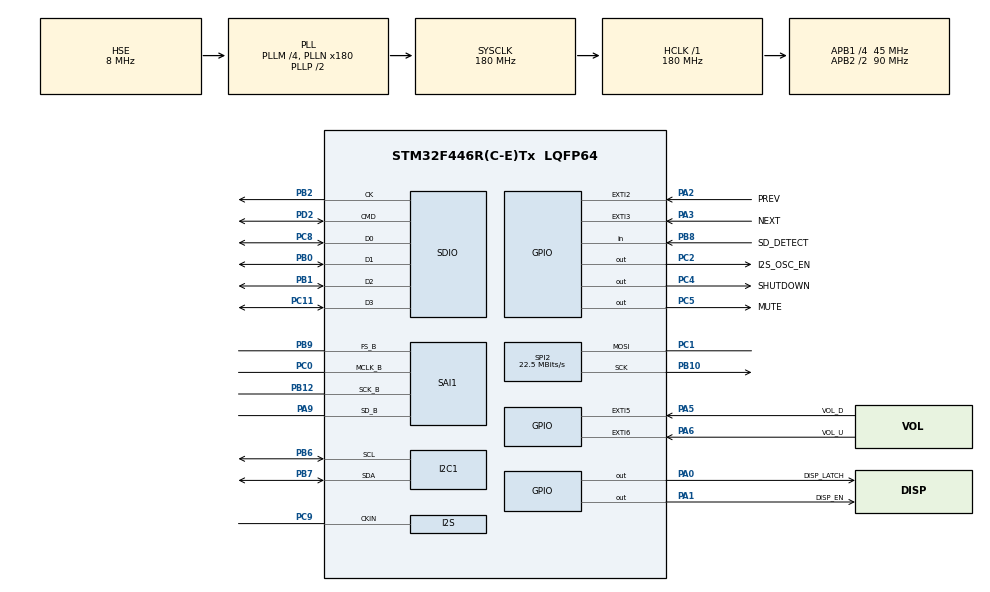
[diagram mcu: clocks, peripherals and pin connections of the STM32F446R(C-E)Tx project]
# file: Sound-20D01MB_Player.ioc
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Mcu.Family=STM32F4
PH0-OSC_IN.Signal=RCC_OSC_IN
RCC.CortexFreq_Value=180000000
NVIC.I2C1_EV_IRQn=true\:0\:0\:false\:false\:true\:true\:true
SPI2.VirtualType=VM_MASTER
PB10.Mode=Simplex_Bidirectional_Master
Dma.SAI1_B.0.MemInc=DMA_MINC_ENABLE
Dma.SAI1_B.0.FIFOThreshold=DMA_FIFO_THRESHOLD_FULL
NVIC.EXTI3_IRQn=true\:0\:0\:false\:false\:true\:true\:true
SAI1.VirtualMode-SAI_B_MasterWithClock=VM_MASTER
PA6.GPIO_Label=VOL_U
RCC.SYSCLKSource=RCC_SYSCLKSOURCE_PLLCLK
SAI1.RealAudioFreq-SAI_B_MasterWithClock=48.0 KHz
ProjectManager.StackSize=0x400
PC11.GPIO_PuPd=GPIO_PULLUP
PB1.GPIO_PuPd=GPIO_PULLUP
RCC.HCLKFreq_Value=180000000
RCC.APB2TimFreq_Value=180000000
PB6.Signal=I2C1_SCL
PB6.Mode=I2C
RCC.AHBFreq_Value=180000000
PH0-OSC_IN.Mode=HSE-External-Oscillator
SAI1.ErrorAudioFreq-SAI_B_MasterWithClock=0.0 %
RCC.HSE_VALUE=8000000
PB2.Signal=SDIO_CK
Dma.SAI1_B.0.PeriphInc=DMA_PINC_DISABLE
PC14-OSC32_IN.Mode=LSE-External-Oscillator
PC4.GPIO_Label=SHUTDOWN
PC9.Mode=Audio_ClockIn
SPI2.CalculateBaudRate=22.5 MBits/s
PB7.Signal=I2C1_SDA
Dma.SAI1_B.0.MemBurst=DMA_MBURST_SINGLE
NVIC.I2C1_ER_IRQn=true\:0\:0\:false\:false\:true\:true\:true
PH1-OSC_OUT.Mode=HSE-External-Oscillator
Mcu.Package=LQFP64
PB9.Signal=SAI1_FS_B
PB1.Signal=SDIO_D2
PA6.Signal=GPXTI6
PB12.Mode=SAI_B_MasterWithClock
SPI2.Mode=SPI_MODE_MASTER
PA2.GPIO_Label=PREV
SAI1.Instance-SAI_B_MasterWithClock=SAI$Index_Block_B
PC11.Mode=SD_4_bits_Wide_bus
RCC.PLLSAIN=96
RCC.PLLSAIM=4
RCC.PLLSAIP=RCC_PLLSAIP_DIV4
Dma.SAI1_B.0.Mode=DMA_NORMAL
RCC.APB2CLKDivider=RCC_HCLK_DIV2
Dma.SAI1_B.0.FIFOMode=DMA_FIFOMODE_ENABLE
NVIC.EXTI2_IRQn=true\:0\:0\:false\:false\:true\:true\:true
RCC.APB1TimFreq_Value=90000000
Dma.SAI1_B.0.Instance=DMA2_Stream5
SPI2.Direction=SPI_DIRECTION_1LINE
PC5.Signal=GPIO_Output
SAI1.MClockEnable-SAI_B_MasterWithClock=SAI_MASTERCLOCK_ENABLE
Dma.Request0=SAI1_B
PC2.GPIO_Label=I2S_OSC_EN
PA3.Signal=GPXTI3
RCC.PLLSourceVirtual=RCC_PLLSOURCE_HSE
PC15-OSC32_OUT.Mode=LSE-External-Oscillator
Dma.SAI1_B.0.MemDataAlignment=DMA_MDATAALIGN_BYTE
Dma.SAI1_B.0.PeriphDataAlignment=DMA_PDATAALIGN_HALFWORD
PD2.GPIO_PuPd=GPIO_PULLUP
RCC.SAIACLockSelection=RCC_SAI1CLKSOURCE_EXT
Dma.SAI1_B.0.PeriphBurst=DMA_PBURST_SINGLE
PC11.Signal=SDIO_D3
PC8.Signal=SDIO_D0
PC4.Signal=GPIO_Output
PC2.Signal=GPIO_Output
PC0.Signal=SAI1_MCLK_B
RCC.APB1CLKDivider=RCC_HCLK_DIV4
PC14-OSC32_IN.Signal=RCC_OSC32_IN
PA0-WKUP.GPIO_Label=DISP_LATCH
PA0-WKUP.Signal=GPIO_Output
PC0.Mode=SAI_B_MasterWithClock
PA13.Signal=SYS_JTMS-SWDIO
Dma.SAI1_B.0.Priority=DMA_PRIORITY_LOW
PB8.GPIO_Label=SD_DETECT
PA9.Mode=SAI_B_MasterWithClock
ProjectManager.TargetToolchain=STM32CubeIDE
SAI1.BasicProtocol-SAI_B_MasterWithClock=SAI_I2S_STANDARD
Dma.SAI1_B.0.Direction=DMA_MEMORY_TO_PERIPH
PB9.Mode=SAI_B_MasterWithClock
PA9.Signal=SAI1_SD_B
RCC.USBFreq_Value=48000000
PC15-OSC32_OUT.Signal=RCC_OSC32_OUT
PA1.Signal=GPIO_Output
PB10.Signal=SPI2_SCK
VP_SAI1_VP_$IpInstance_SAIB_SAI_BASIC.Mode=SAI_B_BASIC
PD2.Mode=SD_4_bits_Wide_bus
RCC.USBCLockSelection=RCC_CLK48CLKSOURCE_PLLSAIP
PA5.Signal=GPXTI5
PB0.Mode=SD_4_bits_Wide_bus
board=custom
RCC.VCOOutputFreq_Value=360000000
RCC.APB2Freq_Value=90000000
NVIC.DMA2_Stream5_IRQn=true\:0\:0\:false\:false\:true\:false\:true
PA1.GPIO_Label=DISP_EN
PH1-OSC_OUT.Signal=RCC_OSC_OUT
Mcu.Name=STM32F446R(C-E)Tx
PA2.Signal=GPXTI2
PC8.Mode=SD_4_bits_Wide_bus
PC8.GPIO_PuPd=GPIO_PULLUP
PB3.Signal=SYS_JTDO-SWO
RCC.SYSCLKFreq_VALUE=180000000
PA5.GPIO_Label=VOL_D
SAI1.AudioFrequency-SAI_B_MasterWithClock=SAI_AUDIO_FREQUENCY_48K
PC5.GPIO_Label=MUTE
SPI2.FirstBit=SPI_FIRSTBIT_LSB
PB2.Mode=SD_4_bits_Wide_bus
PB7.Mode=I2C
NVIC.EXTI9_5_IRQn=true\:0\:0\:false\:false\:true\:true\:true
PA14.Signal=SYS_JTCK-SWCLK
ProjectManager.HeapSize=0x200
PB1.Mode=SD_4_bits_Wide_bus
RCC.PLLQ=8
SAI1.VirtualProtocol-SAI_B_BASIC=VM_BASIC_PROTOCOL
NVIC.PriorityGroup=NVIC_PRIORITYGROUP_4
RCC.PLLM=4
RCC.PLLN=180
PB8.Signal=GPIO_Input
PC9.Signal=I2S_CKIN
PD2.Signal=SDIO_CMD
SAI1.InitProtocol-SAI_B_MasterWithClock=Enable
RCC.APB1Freq_Value=45000000
PB0.Signal=SDIO_D1
PC1.Signal=SPI2_MOSI
PB12.Signal=SAI1_SCK_B
PB0.GPIO_PuPd=GPIO_PULLUP
PC1.Mode=Simplex_Bidirectional_Master
PA3.GPIO_Label=NEXT

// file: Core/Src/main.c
/* USER CODE BEGIN Header */
/**
  ******************************************************************************
  * @file           : main.c
  * @brief          : Main program body
  ******************************************************************************
  * @attention
  *
  * <h2><center>&copy; Copyright (c) 2023 STMicroelectronics.
  * All rights reserved.</center></h2>
  *
  * This software component is licensed by ST under BSD 3-Clause license,
  * the "License"; You may not use this file except in compliance with the
  * License. You may obtain a copy of the License at:
  *                        opensource.org/licenses/BSD-3-Clause
  *
  ******************************************************************************
  */
/* USER CODE END Header */
#include "main.h"

/* USER CODE BEGIN Includes */
#include <string.h>
#include "audio.h"
#include "fs.h"
#include "display.h"
#include "playlist.h"

/* USER CODE END Includes */

/* USER CODE BEGIN PD */
#define DEFAULT_VOLUME 40
/* USER CODE END PD */

I2C_HandleTypeDef hi2c1;

SAI_HandleTypeDef hsai_BlockB1;
DMA_HandleTypeDef hdma_sai1_b;

SD_HandleTypeDef hsd;

SPI_HandleTypeDef hspi2;

/* USER CODE BEGIN PV */
volatile uint8_t read_next_chunk = 0;
volatile uint8_t *buffer_play = NULL;
volatile uint8_t *buffer_read = NULL;
uint8_t buffer_a[CLUSTER_SIZE];
uint8_t buffer_b[CLUSTER_SIZE];
volatile uint16_t numread;
volatile uint16_t cmd = 0;
volatile uint16_t track_number = 0;
volatile uint16_t old_track_number = 0;
volatile uint16_t number_of_tracks = 0;
volatile uint8_t volume = DEFAULT_VOLUME;
/* USER CODE END PV */

void SystemClock_Config(void);
static void MX_GPIO_Init(void);
static void MX_DMA_Init(void);
static void MX_SAI1_Init(void);
static void MX_I2C1_Init(void);
static void MX_SDIO_SD_Init(void);
static void MX_SPI2_Init(void);

/* USER CODE BEGIN 0 */
#ifdef DEBUG
int _write(int32_t file, uint8_t *ptr, int32_t len) {
	UNUSED(file);

	/* Implement your write code here, this is used by puts and printf for example */
	int i = 0;
	for (i = 0; i < len; i++)
		ITM_SendChar((*ptr++));
	return len;
}
#endif

int Player_Init(void) {
	BSP_AUDIO_Init(48000, volume, 0);
	BSP_Player_SetVolume(volume);
	return 0;
}

void HAL_GPIO_EXTI_Callback(uint16_t GPIO_Pin) {
	cmd = GPIO_Pin;
}

void HAL_SAI_TxCpltCallback(SAI_HandleTypeDef *hsai) {
	volatile uint8_t *temp;

	temp = buffer_play;
	buffer_play = buffer_read;
	buffer_read = temp;

	HAL_SAI_Transmit_DMA(&hsai_BlockB1, (uint8_t *) buffer_play, numread / 2);

	if (0 != track_number) {
		read_next_chunk = 1;
	}

	UNUSED(hsai);
}

void HAL_SAI_TxHalfCpltCallback(SAI_HandleTypeDef *hsai) {
	UNUSED(hsai);
}
/* USER CODE END 0 */

int main(void)
{

  /* MCU Configuration--------------------------------------------------------*/

  /* Reset of all peripherals, Initializes the Flash interface and the Systick. */
  HAL_Init();

  /* Configure the system clock */
  SystemClock_Config();

  /* Initialize all configured peripherals */
  MX_GPIO_Init();
  MX_DMA_Init();
  MX_SAI1_Init();
  MX_I2C1_Init();
  MX_SDIO_SD_Init();
  MX_SPI2_Init();
  /* USER CODE BEGIN 2 */
  Player_Init();

  number_of_tracks = fs_init();
  playlist_init(number_of_tracks);
  display_update(0);

  memset(buffer_a, 0, CLUSTER_SIZE);
  memset(buffer_b, 0, CLUSTER_SIZE);

  read_next_chunk = 0;
  buffer_play = buffer_a;
  buffer_read = buffer_b;
  numread = CLUSTER_SIZE;

  HAL_SAI_Transmit_DMA(&hsai_BlockB1, (uint8_t *) buffer_play, CLUSTER_SIZE / 2);

  /* USER CODE END 2 */

  /* Infinite loop */
  /* USER CODE BEGIN WHILE */
  while (1)
  {
		if (0 != cmd) {
			switch (cmd) {
				case VOL_D_Pin: /* Volume Down */
					if (0 < volume) {
						volume--;
						BSP_Player_SetVolume(volume);
					}
					break;
				case VOL_U_Pin: /* Volume Up */
					if (100 > volume) {
						volume++;
						BSP_Player_SetVolume(volume);
					}
					break;
				case PREV_Pin: /* Previous Track */
					track_number = playlist_prev();
					break;
				case NEXT_Pin: /* Next Track */
					track_number = playlist_next();
					break;
			}

			cmd = 0;
		}

		if (old_track_number != track_number) {
			old_track_number = track_number;

			display_update(track_number);

			while (1 != read_next_chunk) {}

			fs_open(track_number);
		}

		if (1 != read_next_chunk) {
			continue;
		}

		read_next_chunk = 0;

		numread = fs_read((uint8_t *) buffer_read);
		if (CLUSTER_SIZE != numread) {
			track_number = playlist_next();
		}

    /* USER CODE END WHILE */

  }
}

void SystemClock_Config(void)
{
  RCC_OscInitTypeDef RCC_OscInitStruct = {0};
  RCC_ClkInitTypeDef RCC_ClkInitStruct = {0};
  RCC_PeriphCLKInitTypeDef PeriphClkInitStruct = {0};

  /** Configure the main internal regulator output voltage
  */
  __HAL_RCC_PWR_CLK_ENABLE();
  __HAL_PWR_VOLTAGESCALING_CONFIG(PWR_REGULATOR_VOLTAGE_SCALE1);
  /** Initializes the RCC Oscillators according to the specified parameters
  * in the RCC_OscInitTypeDef structure.
  */
  RCC_OscInitStruct.OscillatorType = RCC_OSCILLATORTYPE_HSE;
  RCC_OscInitStruct.HSEState = RCC_HSE_ON;
  RCC_OscInitStruct.PLL.PLLState = RCC_PLL_ON;
  RCC_OscInitStruct.PLL.PLLSource = RCC_PLLSOURCE_HSE;
  RCC_OscInitStruct.PLL.PLLM = 4;
  RCC_OscInitStruct.PLL.PLLN = 180;
  RCC_OscInitStruct.PLL.PLLP = RCC_PLLP_DIV2;
  RCC_OscInitStruct.PLL.PLLQ = 8;
  RCC_OscInitStruct.PLL.PLLR = 2;
  if (HAL_RCC_OscConfig(&RCC_OscInitStruct) != HAL_OK)
  {
    Error_Handler();
  }
  /** Activate the Over-Drive mode
  */
  if (HAL_PWREx_EnableOverDrive() != HAL_OK)
  {
    Error_Handler();
  }
  /** Initializes the CPU, AHB and APB buses clocks
  */
  RCC_ClkInitStruct.ClockType = RCC_CLOCKTYPE_HCLK|RCC_CLOCKTYPE_SYSCLK
                              |RCC_CLOCKTYPE_PCLK1|RCC_CLOCKTYPE_PCLK2;
  RCC_ClkInitStruct.SYSCLKSource = RCC_SYSCLKSOURCE_PLLCLK;
  RCC_ClkInitStruct.AHBCLKDivider = RCC_SYSCLK_DIV1;
  RCC_ClkInitStruct.APB1CLKDivider = RCC_HCLK_DIV4;
  RCC_ClkInitStruct.APB2CLKDivider = RCC_HCLK_DIV2;

  if (HAL_RCC_ClockConfig(&RCC_ClkInitStruct, FLASH_LATENCY_5) != HAL_OK)
  {
    Error_Handler();
  }
  PeriphClkInitStruct.PeriphClockSelection = RCC_PERIPHCLK_SAI1|RCC_PERIPHCLK_SDIO
                              |RCC_PERIPHCLK_CLK48;
  PeriphClkInitStruct.PLLSAI.PLLSAIM = 4;
  PeriphClkInitStruct.PLLSAI.PLLSAIN = 96;
  PeriphClkInitStruct.PLLSAI.PLLSAIQ = 2;
  PeriphClkInitStruct.PLLSAI.PLLSAIP = RCC_PLLSAIP_DIV4;
  PeriphClkInitStruct.PLLSAIDivQ = 1;
  PeriphClkInitStruct.Clk48ClockSelection = RCC_CLK48CLKSOURCE_PLLSAIP;
  PeriphClkInitStruct.SdioClockSelection = RCC_SDIOCLKSOURCE_CLK48;
  PeriphClkInitStruct.Sai1ClockSelection = RCC_SAI1CLKSOURCE_EXT;
  if (HAL_RCCEx_PeriphCLKConfig(&PeriphClkInitStruct) != HAL_OK)
  {
    Error_Handler();
  }
}

static void MX_I2C1_Init(void)
{

  hi2c1.Instance = I2C1;
  hi2c1.Init.ClockSpeed = 100000;
  hi2c1.Init.DutyCycle = I2C_DUTYCYCLE_2;
  hi2c1.Init.OwnAddress1 = 0;
  hi2c1.Init.AddressingMode = I2C_ADDRESSINGMODE_7BIT;
  hi2c1.Init.DualAddressMode = I2C_DUALADDRESS_DISABLE;
  hi2c1.Init.OwnAddress2 = 0;
  hi2c1.Init.GeneralCallMode = I2C_GENERALCALL_DISABLE;
  hi2c1.Init.NoStretchMode = I2C_NOSTRETCH_DISABLE;
  if (HAL_I2C_Init(&hi2c1) != HAL_OK)
  {
    Error_Handler();
  }

}

static void MX_SAI1_Init(void)
{

  hsai_BlockB1.Instance = SAI1_Block_B;
  hsai_BlockB1.Init.AudioMode = SAI_MODEMASTER_TX;
  hsai_BlockB1.Init.Synchro = SAI_ASYNCHRONOUS;
  hsai_BlockB1.Init.OutputDrive = SAI_OUTPUTDRIVE_DISABLE;
  hsai_BlockB1.Init.NoDivider = SAI_MASTERDIVIDER_ENABLE;
  hsai_BlockB1.Init.FIFOThreshold = SAI_FIFOTHRESHOLD_EMPTY;
  hsai_BlockB1.Init.ClockSource = SAI_CLKSOURCE_NA;
  hsai_BlockB1.Init.AudioFrequency = SAI_AUDIO_FREQUENCY_48K;
  hsai_BlockB1.Init.SynchroExt = SAI_SYNCEXT_DISABLE;
  hsai_BlockB1.Init.MonoStereoMode = SAI_STEREOMODE;
  hsai_BlockB1.Init.CompandingMode = SAI_NOCOMPANDING;
  hsai_BlockB1.Init.TriState = SAI_OUTPUT_NOTRELEASED;
  if (HAL_SAI_InitProtocol(&hsai_BlockB1, SAI_I2S_STANDARD, SAI_PROTOCOL_DATASIZE_16BIT, 2) != HAL_OK)
  {
    Error_Handler();
  }

}

static void MX_SDIO_SD_Init(void)
{

  hsd.Instance = SDIO;
  hsd.Init.ClockEdge = SDIO_CLOCK_EDGE_RISING;
  hsd.Init.ClockBypass = SDIO_CLOCK_BYPASS_DISABLE;
  hsd.Init.ClockPowerSave = SDIO_CLOCK_POWER_SAVE_DISABLE;
  hsd.Init.BusWide = SDIO_BUS_WIDE_1B;
  hsd.Init.HardwareFlowControl = SDIO_HARDWARE_FLOW_CONTROL_DISABLE;
  hsd.Init.ClockDiv = 0;
  if (HAL_SD_Init(&hsd) != HAL_OK)
  {
    Error_Handler();
  }
  if (HAL_SD_ConfigWideBusOperation(&hsd, SDIO_BUS_WIDE_4B) != HAL_OK)
  {
    Error_Handler();
  }

}

static void MX_SPI2_Init(void)
{

  /* SPI2 parameter configuration*/
  hspi2.Instance = SPI2;
  hspi2.Init.Mode = SPI_MODE_MASTER;
  hspi2.Init.Direction = SPI_DIRECTION_1LINE;
  hspi2.Init.DataSize = SPI_DATASIZE_8BIT;
  hspi2.Init.CLKPolarity = SPI_POLARITY_LOW;
  hspi2.Init.CLKPhase = SPI_PHASE_1EDGE;
  hspi2.Init.NSS = SPI_NSS_SOFT;
  hspi2.Init.BaudRatePrescaler = SPI_BAUDRATEPRESCALER_2;
  hspi2.Init.FirstBit = SPI_FIRSTBIT_LSB;
  hspi2.Init.TIMode = SPI_TIMODE_DISABLE;
  hspi2.Init.CRCCalculation = SPI_CRCCALCULATION_DISABLE;
  hspi2.Init.CRCPolynomial = 10;
  if (HAL_SPI_Init(&hspi2) != HAL_OK)
  {
    Error_Handler();
  }

}

static void MX_DMA_Init(void)
{

  /* DMA controller clock enable */
  __HAL_RCC_DMA2_CLK_ENABLE();

  /* DMA interrupt init */
  /* DMA2_Stream5_IRQn interrupt configuration */
  HAL_NVIC_SetPriority(DMA2_Stream5_IRQn, 0, 0);
  HAL_NVIC_EnableIRQ(DMA2_Stream5_IRQn);

}

static void MX_GPIO_Init(void)
{
  GPIO_InitTypeDef GPIO_InitStruct = {0};

  /* GPIO Ports Clock Enable */
  __HAL_RCC_GPIOC_CLK_ENABLE();
  __HAL_RCC_GPIOH_CLK_ENABLE();
  __HAL_RCC_GPIOA_CLK_ENABLE();
  __HAL_RCC_GPIOB_CLK_ENABLE();
  __HAL_RCC_GPIOD_CLK_ENABLE();

  /*Configure GPIO pin Output Level */
  HAL_GPIO_WritePin(GPIOC, I2S_OSC_EN_Pin|SHUTDOWN_Pin|MUTE_Pin, GPIO_PIN_RESET);

  /*Configure GPIO pin Output Level */
  HAL_GPIO_WritePin(GPIOA, DISP_LATCH_Pin|DISP_EN_Pin, GPIO_PIN_RESET);

  /*Configure GPIO pins : I2S_OSC_EN_Pin SHUTDOWN_Pin MUTE_Pin */
  GPIO_InitStruct.Pin = I2S_OSC_EN_Pin|SHUTDOWN_Pin|MUTE_Pin;
  GPIO_InitStruct.Mode = GPIO_MODE_OUTPUT_PP;
  GPIO_InitStruct.Pull = GPIO_NOPULL;
  GPIO_InitStruct.Speed = GPIO_SPEED_FREQ_LOW;
  HAL_GPIO_Init(GPIOC, &GPIO_InitStruct);

  /*Configure GPIO pins : DISP_LATCH_Pin DISP_EN_Pin */
  GPIO_InitStruct.Pin = DISP_LATCH_Pin|DISP_EN_Pin;
  GPIO_InitStruct.Mode = GPIO_MODE_OUTPUT_PP;
  GPIO_InitStruct.Pull = GPIO_NOPULL;
  GPIO_InitStruct.Speed = GPIO_SPEED_FREQ_LOW;
  HAL_GPIO_Init(GPIOA, &GPIO_InitStruct);

  /*Configure GPIO pins : PREV_Pin NEXT_Pin VOL_D_Pin VOL_U_Pin */
  GPIO_InitStruct.Pin = PREV_Pin|NEXT_Pin|VOL_D_Pin|VOL_U_Pin;
  GPIO_InitStruct.Mode = GPIO_MODE_IT_RISING;
  GPIO_InitStruct.Pull = GPIO_NOPULL;
  HAL_GPIO_Init(GPIOA, &GPIO_InitStruct);

  /*Configure GPIO pin : PC9 */
  GPIO_InitStruct.Pin = GPIO_PIN_9;
  GPIO_InitStruct.Mode = GPIO_MODE_AF_PP;
  GPIO_InitStruct.Pull = GPIO_NOPULL;
  GPIO_InitStruct.Speed = GPIO_SPEED_FREQ_LOW;
  GPIO_InitStruct.Alternate = GPIO_AF5_SPI1;
  HAL_GPIO_Init(GPIOC, &GPIO_InitStruct);

  /*Configure GPIO pin : SD_DETECT_Pin */
  GPIO_InitStruct.Pin = SD_DETECT_Pin;
  GPIO_InitStruct.Mode = GPIO_MODE_INPUT;
  GPIO_InitStruct.Pull = GPIO_NOPULL;
  HAL_GPIO_Init(SD_DETECT_GPIO_Port, &GPIO_InitStruct);

  /* EXTI interrupt init*/
  HAL_NVIC_SetPriority(EXTI2_IRQn, 0, 0);
  HAL_NVIC_EnableIRQ(EXTI2_IRQn);

  HAL_NVIC_SetPriority(EXTI3_IRQn, 0, 0);
  HAL_NVIC_EnableIRQ(EXTI3_IRQn);

  HAL_NVIC_SetPriority(EXTI9_5_IRQn, 0, 0);
  HAL_NVIC_EnableIRQ(EXTI9_5_IRQn);

}

void Error_Handler(void)
{
  __disable_irq();
  while (1)
  {
  }
}

/************************ (C) COPYRIGHT STMicroelectronics *****END OF FILE****/
